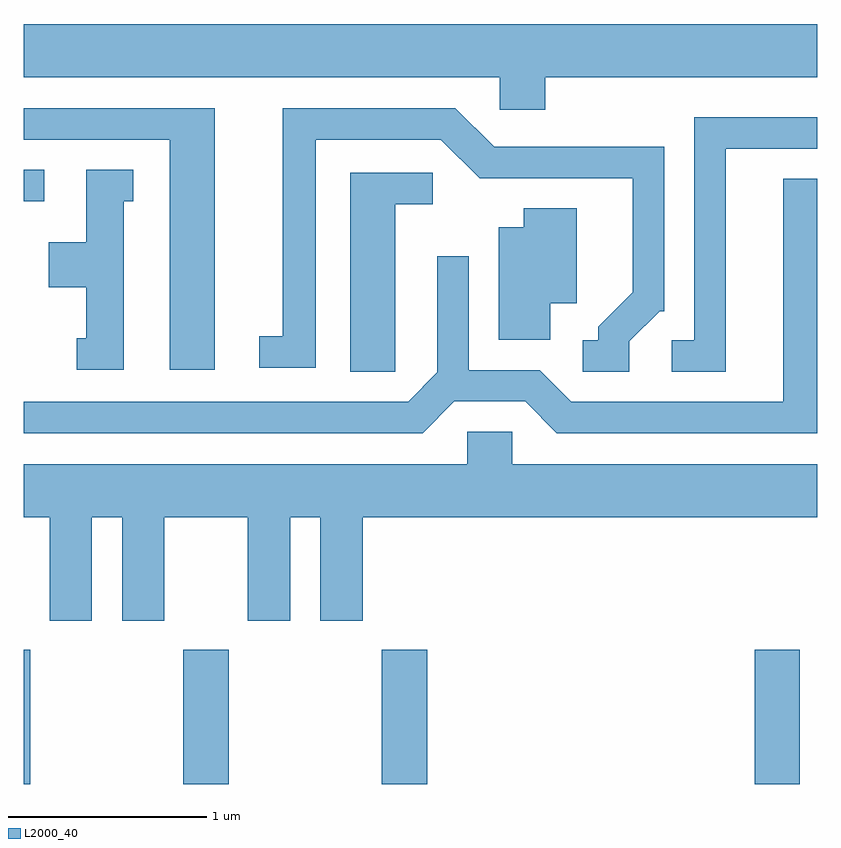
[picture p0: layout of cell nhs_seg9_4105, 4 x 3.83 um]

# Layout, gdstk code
import gdstk
lib = gdstk.Library(unit=1e-6, precision=1e-09)
def R(c, l, rs):  # rectangles x0, y0, x1, y1
    for r in rs: c.add(gdstk.rectangle(r[:2], r[2:], *l))
def P(c, l, *ps):  # polygons
    for p in ps: c.add(gdstk.Polygon(p, *l))
L2000_40 = (2000, 40)

nhs_seg9_4105 = lib.new_cell('nhs_seg9_4105')
R(nhs_seg9_4105, L2000_40, [(305.611,2030.432,305.644,2031.109), (306.416,2030.432,306.644,2031.109), (307.416,2030.432,307.644,2031.109), (309.296,2030.432,309.524,2031.109), (305.611,2033.371,305.713,2033.529)])
P(nhs_seg9_4105, L2000_40, [(308.239,2033.996),(309.611,2033.996),(309.611,2034.264),(305.611,2034.264),(305.611,2033.996),(308.011,2033.996),(308.011,2033.831),(308.239,2033.831)],
  [(306.574,2033.839),(305.611,2033.839),(305.611,2033.681),(306.346,2033.681),(306.346,2032.521),(306.574,2032.521)],
  [(308.664,2032.664),(308.817,2032.816),(308.839,2032.816),(308.839,2033.644),(307.982,2033.644),(307.787,2033.839),(306.916,2033.839),(306.916,2032.689),(306.798,2032.689),(306.798,2032.531),(307.084,2032.531),(307.084,2033.681),(307.714,2033.681),(307.909,2033.486),(308.681,2033.486),(308.681,2032.912),(308.506,2032.737),(308.506,2032.669),(308.428,2032.669),(308.428,2032.511),(308.664,2032.511)],
  [(309.149,2033.636),(309.611,2033.636),(309.611,2033.794),(308.991,2033.794),(308.991,2032.669),(308.878,2032.669),(308.878,2032.511),(309.149,2032.511)],
  [(306.114,2033.371),(306.163,2033.371),(306.163,2033.529),(305.926,2033.529),(305.926,2033.164),(305.736,2033.164),(305.736,2032.936),(305.926,2032.936),(305.926,2032.679),(305.878,2032.679),(305.878,2032.521),(306.114,2032.521)],
  [(307.484,2033.356),(307.673,2033.356),(307.673,2033.514),(307.256,2033.514),(307.256,2032.511),(307.484,2032.511)],
  [(307.782,2032.361),(308.139,2032.361),(308.299,2032.201),(309.611,2032.201),(309.611,2033.484),(309.441,2033.484),(309.441,2032.359),(308.372,2032.359),(308.212,2032.519),(307.854,2032.519),(307.854,2033.093),(307.696,2033.093),(307.696,2032.507),(307.549,2032.359),(305.611,2032.359),(305.611,2032.201),(307.622,2032.201)],
  [(308.264,2032.856),(308.399,2032.856),(308.399,2033.334),(308.131,2033.334),(308.131,2033.239),(308.006,2033.239),(308.006,2032.671),(308.264,2032.671)],
  [(305.954,2031.776),(306.106,2031.776),(306.106,2031.256),(306.319,2031.256),(306.319,2031.776),(306.741,2031.776),(306.741,2031.256),(306.954,2031.256),(306.954,2031.776),(307.106,2031.776),(307.106,2031.256),(307.319,2031.256),(307.319,2031.776),(309.611,2031.776),(309.611,2032.044),(308.074,2032.044),(308.074,2032.209),(307.846,2032.209),(307.846,2032.044),(305.611,2032.044),(305.611,2031.776),(305.741,2031.776),(305.741,2031.256),(305.954,2031.256)])

lib.write_gds('nhs_seg9_4105.gds')
